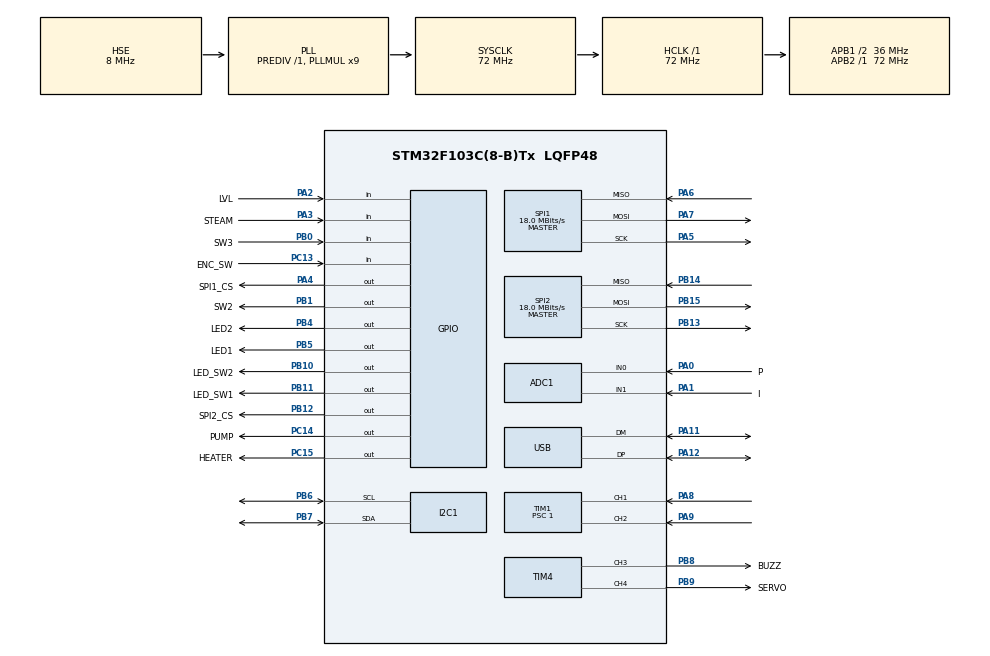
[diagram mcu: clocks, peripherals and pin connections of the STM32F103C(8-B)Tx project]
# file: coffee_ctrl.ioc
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ADC1.Channel-0\#ChannelRegularConversion=ADC_CHANNEL_0
ADC1.NbrOfConversionFlag=1
ADC1.Rank-0\#ChannelRegularConversion=1
ADC1.SamplingTime-0\#ChannelRegularConversion=ADC_SAMPLETIME_1CYCLE_5
ADC1.master=1
I2C1.I2C_Mode=I2C_Fast
Mcu.Family=STM32F1
Mcu.Name=STM32F103C(8-B)Tx
Mcu.Package=LQFP48
NVIC.PriorityGroup=NVIC_PRIORITYGROUP_4
NVIC.USB_LP_CAN1_RX0_IRQn=true\:0\:0\:false\:false\:true\:false\:true
PA0-WKUP.GPIO_Label=P
PA0-WKUP.Signal=ADCx_IN0
PA1.GPIO_Label=I
PA1.Signal=ADCx_IN1
PA11.Mode=Device
PA11.Signal=USB_DM
PA12.Mode=Device
PA12.Signal=USB_DP
PA13.Mode=Trace_Asynchronous_SW
PA13.Signal=SYS_JTMS-SWDIO
PA14.Mode=Trace_Asynchronous_SW
PA14.Signal=SYS_JTCK-SWCLK
PA2.GPIO_Label=LVL
PA2.Signal=GPIO_Input
PA3.GPIO_Label=STEAM
PA3.Signal=GPIO_Input
PA4.GPIO_Label=SPI1_CS
PA4.Signal=GPIO_Output
PA5.Mode=Full_Duplex_Master
PA5.Signal=SPI1_SCK
PA6.Mode=Full_Duplex_Master
PA6.Signal=SPI1_MISO
PA7.Mode=Full_Duplex_Master
PA7.Signal=SPI1_MOSI
PA8.Signal=S_TIM1_CH1
PA9.Signal=S_TIM1_CH2
PB0.GPIO_Label=SW3
PB0.Signal=GPIO_Input
PB1.GPIO_Label=SW2
PB1.Signal=GPIO_Output
PB10.GPIO_Label=LED_SW2
PB10.Signal=GPIO_Output
PB11.GPIO_Label=LED_SW1
PB11.Signal=GPIO_Output
PB12.GPIO_Label=SPI2_CS
PB12.Signal=GPIO_Output
PB13.Mode=Full_Duplex_Master
PB13.Signal=SPI2_SCK
PB14.Mode=Full_Duplex_Master
PB14.Signal=SPI2_MISO
PB15.Mode=Full_Duplex_Master
PB15.Signal=SPI2_MOSI
PB3.Mode=Trace_Asynchronous_SW
PB3.Signal=SYS_JTDO-TRACESWO
PB4.GPIO_Label=LED2
PB4.Signal=GPIO_Output
PB5.GPIO_Label=LED1
PB5.Signal=GPIO_Output
PB6.Mode=I2C
PB6.Signal=I2C1_SCL
PB7.Mode=I2C
PB7.Signal=I2C1_SDA
PB8.GPIO_Label=BUZZ
PB8.Signal=S_TIM4_CH3
PB9.GPIO_Label=SERVO
PB9.Signal=S_TIM4_CH4
PC13-TAMPER-RTC.GPIO_Label=ENC_SW
PC13-TAMPER-RTC.Signal=GPIO_Input
PC14-OSC32_IN.GPIO_Label=PUMP
PC14-OSC32_IN.Signal=GPIO_Output
PC15-OSC32_OUT.GPIO_Label=HEATER
PC15-OSC32_OUT.Signal=GPIO_Output
PD0-OSC_IN.Mode=HSE-External-Oscillator
PD0-OSC_IN.Signal=RCC_OSC_IN
PD1-OSC_OUT.Mode=HSE-External-Oscillator
PD1-OSC_OUT.Signal=RCC_OSC_OUT
ProjectManager.HeapSize=0x200
ProjectManager.StackSize=0x400
ProjectManager.TargetToolchain=STM32CubeIDE
RCC.ADCPresc=RCC_ADCPCLK2_DIV6
RCC.AHBFreq_Value=72000000
RCC.APB1CLKDivider=RCC_HCLK_DIV2
RCC.APB1Freq_Value=36000000
RCC.APB1TimFreq_Value=72000000
RCC.APB2Freq_Value=72000000
RCC.APB2TimFreq_Value=72000000
RCC.HCLKFreq_Value=72000000
RCC.PLLMUL=RCC_PLL_MUL9
RCC.PLLSourceVirtual=RCC_PLLSOURCE_HSE
RCC.SYSCLKFreq_VALUE=72000000
RCC.SYSCLKSource=RCC_SYSCLKSOURCE_PLLCLK
RCC.USBFreq_Value=48000000
RCC.USBPrescaler=RCC_USBCLKSOURCE_PLL_DIV1_5
SH.ADCx_IN0.0=ADC1_IN0,IN0
SH.ADCx_IN1.0=ADC1_IN1,IN1
SH.S_TIM1_CH1.0=TIM1_CH1,Encoder_Interface
SH.S_TIM1_CH2.0=TIM1_CH2,Encoder_Interface
SH.S_TIM4_CH3.0=TIM4_CH3,PWM Generation3 CH3
SH.S_TIM4_CH4.0=TIM4_CH4,PWM Generation4 CH4
SPI1.BaudRatePrescaler=SPI_BAUDRATEPRESCALER_4
SPI1.CalculateBaudRate=18.0 MBits/s
SPI1.Direction=SPI_DIRECTION_2LINES
SPI1.Mode=SPI_MODE_MASTER
SPI1.VirtualType=VM_MASTER
SPI2.CalculateBaudRate=18.0 MBits/s
SPI2.Direction=SPI_DIRECTION_2LINES
SPI2.Mode=SPI_MODE_MASTER
SPI2.VirtualType=VM_MASTER
TIM1.AutoReloadPreload=TIM_AUTORELOAD_PRELOAD_DISABLE
TIM1.ClockDivision=TIM_CLOCKDIVISION_DIV1
TIM1.CounterMode=TIM_COUNTERMODE_DOWN
TIM1.EncoderMode=TIM_ENCODERMODE_TI12
TIM1.IC1Filter=10
TIM1.IC2Filter=10
TIM1.Period=65535
TIM1.Prescaler=1
TIM1.RepetitionCounter=0
TIM4.Channel-PWM\ Generation3\ CH3=TIM_CHANNEL_3
TIM4.Channel-PWM\ Generation4\ CH4=TIM_CHANNEL_4
USB_DEVICE.CLASS_NAME_FS=CDC
USB_DEVICE.VirtualMode=Cdc
USB_DEVICE.VirtualModeFS=Cdc_FS
VP_ADC1_TempSens_Input.Mode=IN-TempSens
VP_USB_DEVICE_VS_USB_DEVICE_CDC_FS.Mode=CDC_FS
board=custom

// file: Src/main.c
/* USER CODE BEGIN Header */
/**
  ******************************************************************************
  * @file           : main.c
  * @brief          : Main program body
  ******************************************************************************
  * @attention
  *
  * <h2><center>&copy; Copyright (c) 2021 STMicroelectronics.
  * All rights reserved.</center></h2>
  *
  * This software component is licensed by ST under BSD 3-Clause license,
  * the "License"; You may not use this file except in compliance with the
  * License. You may obtain a copy of the License at:
  *                        opensource.org/licenses/BSD-3-Clause
  *
  ******************************************************************************
  */
/* USER CODE END Header */

#include "main.h"
#include "adc.h"
#include "i2c.h"
#include "spi.h"
#include "tim.h"
#include "usb_device.h"
#include "gpio.h"

/* USER CODE BEGIN Includes */
#include <stdio.h>
#include "usbd_cdc_if.h"
#include "ssd1306.h"
#include "fonts.h"

/* USER CODE END Includes */

/* USER CODE BEGIN PV */
I2C_HandleTypeDef hi2c1;
TIM_HandleTypeDef htim1;

/* USER CODE END PV */

void SystemClock_Config(void);

/* USER CODE BEGIN 0 */
uint8_t data[] = "Hello World from USB CDC\n";

/* USER CODE END 0 */

int main(void)
{

  /* MCU Configuration--------------------------------------------------------*/

  /* Reset of all peripherals, Initializes the Flash interface and the Systick. */
  HAL_Init();

  /* Configure the system clock */
  SystemClock_Config();

  /* Initialize all configured peripherals */
  MX_GPIO_Init();
  MX_ADC1_Init();
  MX_I2C1_Init();
  MX_SPI1_Init();
  MX_SPI2_Init();
  MX_TIM4_Init();
  MX_USB_DEVICE_Init();
  MX_TIM1_Init();
  /* USER CODE BEGIN 2 */
  uint8_t check = SSD1306_Init();  // initialize
  uint16_t counter = 0;
  char buffer[256];

  if (check == 0){
	  HAL_GPIO_WritePin(LED1_GPIO_Port,LED1_Pin,1);
  } else {
	  SSD1306_GotoXY (0,0);
	  SSD1306_Puts("HELLO", &Font_11x18, 1);
	  SSD1306_GotoXY (10, 30);
	  SSD1306_Puts("  WORLD :)", &Font_11x18, 1);
	  SSD1306_UpdateScreen(); //display
	  HAL_Delay(1000);
	  //SSD1306_Fill (0);  // fill the display with black color
	  //SSD1306_UpdateScreen(); // update screen
  }
  HAL_TIM_Encoder_Start(&htim1, TIM_CHANNEL_ALL);

  /* USER CODE END 2 */

  /* Infinite loop */
    while (1)
    {

    /* USER CODE BEGIN 3 */
		counter = (TIM1->CNT);
		sprintf(buffer, "%d", counter);
		SSD1306_Fill(0);
		SSD1306_GotoXY(0,0);
		SSD1306_Puts(buffer, &Font_11x18, 1);
		SSD1306_UpdateScreen();
		//HAL_GPIO_TogglePin(LED1_GPIO_Port,LED1_Pin);
		//HAL_GPIO_TogglePin(LED2_GPIO_Port,LED2_Pin);
		//HAL_Delay(300);
		//printf("hello");
		//CDC_Transmit_FS(data, sizeof(data));

    }
  /* USER CODE END 3 */
}

void SystemClock_Config(void)
{
  RCC_OscInitTypeDef RCC_OscInitStruct = {0};
  RCC_ClkInitTypeDef RCC_ClkInitStruct = {0};
  RCC_PeriphCLKInitTypeDef PeriphClkInit = {0};

  /** Initializes the CPU, AHB and APB busses clocks
  */
  RCC_OscInitStruct.OscillatorType = RCC_OSCILLATORTYPE_HSE;
  RCC_OscInitStruct.HSEState = RCC_HSE_ON;
  RCC_OscInitStruct.HSEPredivValue = RCC_HSE_PREDIV_DIV1;
  RCC_OscInitStruct.HSIState = RCC_HSI_ON;
  RCC_OscInitStruct.PLL.PLLState = RCC_PLL_ON;
  RCC_OscInitStruct.PLL.PLLSource = RCC_PLLSOURCE_HSE;
  RCC_OscInitStruct.PLL.PLLMUL = RCC_PLL_MUL9;
  if (HAL_RCC_OscConfig(&RCC_OscInitStruct) != HAL_OK)
  {
    Error_Handler();
  }
  /** Initializes the CPU, AHB and APB busses clocks
  */
  RCC_ClkInitStruct.ClockType = RCC_CLOCKTYPE_HCLK|RCC_CLOCKTYPE_SYSCLK
                              |RCC_CLOCKTYPE_PCLK1|RCC_CLOCKTYPE_PCLK2;
  RCC_ClkInitStruct.SYSCLKSource = RCC_SYSCLKSOURCE_PLLCLK;
  RCC_ClkInitStruct.AHBCLKDivider = RCC_SYSCLK_DIV1;
  RCC_ClkInitStruct.APB1CLKDivider = RCC_HCLK_DIV2;
  RCC_ClkInitStruct.APB2CLKDivider = RCC_HCLK_DIV1;

  if (HAL_RCC_ClockConfig(&RCC_ClkInitStruct, FLASH_LATENCY_2) != HAL_OK)
  {
    Error_Handler();
  }
  PeriphClkInit.PeriphClockSelection = RCC_PERIPHCLK_ADC|RCC_PERIPHCLK_USB;
  PeriphClkInit.AdcClockSelection = RCC_ADCPCLK2_DIV6;
  PeriphClkInit.UsbClockSelection = RCC_USBCLKSOURCE_PLL_DIV1_5;
  if (HAL_RCCEx_PeriphCLKConfig(&PeriphClkInit) != HAL_OK)
  {
    Error_Handler();
  }
}

void Error_Handler(void)
{
}

/************************ (C) COPYRIGHT STMicroelectronics *****END OF FILE****/
